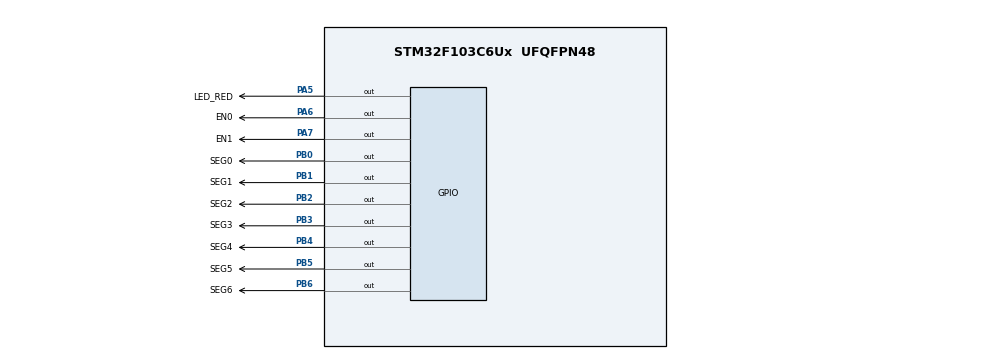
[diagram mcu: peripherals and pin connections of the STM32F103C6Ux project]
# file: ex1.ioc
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Mcu.Family=STM32F1
Mcu.Name=STM32F103C6Ux
Mcu.Package=UFQFPN48
NVIC.PriorityGroup=NVIC_PRIORITYGROUP_4
NVIC.TIM2_IRQn=true\:0\:0\:false\:false\:true\:true\:true
PA5.GPIO_Label=LED_RED
PA5.Signal=GPIO_Output
PA6.GPIO_Label=EN0
PA6.Signal=GPIO_Output
PA7.GPIO_Label=EN1
PA7.Signal=GPIO_Output
PB0.GPIO_Label=SEG0
PB0.Signal=GPIO_Output
PB1.GPIO_Label=SEG1
PB1.Signal=GPIO_Output
PB2.GPIO_Label=SEG2
PB2.Signal=GPIO_Output
PB3.GPIO_Label=SEG3
PB3.Signal=GPIO_Output
PB4.GPIO_Label=SEG4
PB4.Signal=GPIO_Output
PB5.GPIO_Label=SEG5
PB5.Signal=GPIO_Output
PB6.GPIO_Label=SEG6
PB6.Signal=GPIO_Output
ProjectManager.HeapSize=0x200
ProjectManager.StackSize=0x400
ProjectManager.TargetToolchain=STM32CubeIDE
RCC.APB1Freq_Value=8000000
RCC.APB2Freq_Value=8000000
TIM2.Period=9
TIM2.Prescaler=7999
VP_SYS_VS_ND.Mode=No_Debug
VP_TIM2_VS_ClockSourceINT.Mode=Internal
board=custom

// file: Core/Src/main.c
/* USER CODE BEGIN Header */
/**
  ******************************************************************************
  * @file           : main.c
  * @brief          : Main program body
  ******************************************************************************
  * @attention
  *
  * <h2><center>&copy; Copyright (c) 2023 STMicroelectronics.
  * All rights reserved.</center></h2>
  *
  * This software component is licensed by ST under BSD 3-Clause license,
  * the "License"; You may not use this file except in compliance with the
  * License. You may obtain a copy of the License at:
  *                        opensource.org/licenses/BSD-3-Clause
  *
  ******************************************************************************
  */
/* USER CODE END Header */
#include "main.h"

TIM_HandleTypeDef htim2;

void SystemClock_Config(void);
static void MX_GPIO_Init(void);
static void MX_TIM2_Init(void);

int main(void)
{

  /* MCU Configuration--------------------------------------------------------*/

  /* Reset of all peripherals, Initializes the Flash interface and the Systick. */
  HAL_Init();

  /* Configure the system clock */
  SystemClock_Config();

  /* Initialize all configured peripherals */
  MX_GPIO_Init();
  MX_TIM2_Init();
  /* USER CODE BEGIN 2 */
  HAL_TIM_Base_Start_IT(&htim2);
  /* USER CODE END 2 */

  /* Infinite loop */
  while (1)
  {

  }
}

void display7SEG (int num, GPIO_TypeDef* LEDa_GPIO_Port, uint16_t LEDa_Pin,
		  GPIO_TypeDef* LEDb_GPIO_Port, uint16_t LEDb_Pin,
		  GPIO_TypeDef* LEDc_GPIO_Port, uint16_t LEDc_Pin,
		  GPIO_TypeDef* LEDd_GPIO_Port, uint16_t LEDd_Pin,
		  GPIO_TypeDef* LEDe_GPIO_Port, uint16_t LEDe_Pin,
		  GPIO_TypeDef* LEDf_GPIO_Port, uint16_t LEDf_Pin,
		  GPIO_TypeDef* LEDg_GPIO_Port, uint16_t LEDg_Pin)
  {
	  switch(num)
	  {
	  case 0:
		  HAL_GPIO_WritePin(LEDa_GPIO_Port, LEDa_Pin, GPIO_PIN_RESET);
		  HAL_GPIO_WritePin(LEDb_GPIO_Port, LEDb_Pin, GPIO_PIN_RESET);
		  HAL_GPIO_WritePin(LEDc_GPIO_Port, LEDc_Pin, GPIO_PIN_RESET);
		  HAL_GPIO_WritePin(LEDd_GPIO_Port, LEDd_Pin, GPIO_PIN_RESET);
		  HAL_GPIO_WritePin(LEDe_GPIO_Port, LEDe_Pin, GPIO_PIN_RESET);
		  HAL_GPIO_WritePin(LEDf_GPIO_Port, LEDf_Pin, GPIO_PIN_RESET);
		  HAL_GPIO_WritePin(LEDg_GPIO_Port, LEDg_Pin, GPIO_PIN_SET);
		  break;
	  case 1:
		  HAL_GPIO_WritePin(LEDa_GPIO_Port, LEDa_Pin, GPIO_PIN_SET);
		  HAL_GPIO_WritePin(LEDb_GPIO_Port, LEDb_Pin, GPIO_PIN_RESET);
		  HAL_GPIO_WritePin(LEDc_GPIO_Port, LEDc_Pin, GPIO_PIN_RESET);
		  HAL_GPIO_WritePin(LEDd_GPIO_Port, LEDd_Pin, GPIO_PIN_SET);
		  HAL_GPIO_WritePin(LEDe_GPIO_Port, LEDe_Pin, GPIO_PIN_SET);
		  HAL_GPIO_WritePin(LEDf_GPIO_Port, LEDf_Pin, GPIO_PIN_SET);
		  HAL_GPIO_WritePin(LEDg_GPIO_Port, LEDg_Pin, GPIO_PIN_SET);
		  break;
	  case 2:
		  HAL_GPIO_WritePin(LEDa_GPIO_Port, LEDa_Pin, GPIO_PIN_RESET);
		  HAL_GPIO_WritePin(LEDb_GPIO_Port, LEDb_Pin, GPIO_PIN_RESET);
		  HAL_GPIO_WritePin(LEDc_GPIO_Port, LEDc_Pin, GPIO_PIN_SET);
		  HAL_GPIO_WritePin(LEDd_GPIO_Port, LEDd_Pin, GPIO_PIN_RESET);
		  HAL_GPIO_WritePin(LEDe_GPIO_Port, LEDe_Pin, GPIO_PIN_RESET);
		  HAL_GPIO_WritePin(LEDf_GPIO_Port, LEDf_Pin, GPIO_PIN_SET);
		  HAL_GPIO_WritePin(LEDg_GPIO_Port, LEDg_Pin, GPIO_PIN_RESET);
		  break;
	  case 3:
		  HAL_GPIO_WritePin(LEDa_GPIO_Port, LEDa_Pin, GPIO_PIN_RESET);
		  HAL_GPIO_WritePin(LEDb_GPIO_Port, LEDb_Pin, GPIO_PIN_RESET);
		  HAL_GPIO_WritePin(LEDc_GPIO_Port, LEDc_Pin, GPIO_PIN_RESET);
		  HAL_GPIO_WritePin(LEDd_GPIO_Port, LEDd_Pin, GPIO_PIN_RESET);
		  HAL_GPIO_WritePin(LEDe_GPIO_Port, LEDe_Pin, GPIO_PIN_SET);
		  HAL_GPIO_WritePin(LEDf_GPIO_Port, LEDf_Pin, GPIO_PIN_SET);
		  HAL_GPIO_WritePin(LEDg_GPIO_Port, LEDg_Pin, GPIO_PIN_RESET);
		  break;
	  case 4:
		  HAL_GPIO_WritePin(LEDa_GPIO_Port, LEDa_Pin, GPIO_PIN_SET);
		  HAL_GPIO_WritePin(LEDb_GPIO_Port, LEDb_Pin, GPIO_PIN_RESET);
		  HAL_GPIO_WritePin(LEDc_GPIO_Port, LEDc_Pin, GPIO_PIN_RESET);
		  HAL_GPIO_WritePin(LEDd_GPIO_Port, LEDd_Pin, GPIO_PIN_SET);
		  HAL_GPIO_WritePin(LEDe_GPIO_Port, LEDe_Pin, GPIO_PIN_SET);
		  HAL_GPIO_WritePin(LEDf_GPIO_Port, LEDf_Pin, GPIO_PIN_RESET);
		  HAL_GPIO_WritePin(LEDg_GPIO_Port, LEDg_Pin, GPIO_PIN_RESET);
		  break;
	  case 5:
		  HAL_GPIO_WritePin(LEDa_GPIO_Port, LEDa_Pin, GPIO_PIN_RESET);
		  HAL_GPIO_WritePin(LEDb_GPIO_Port, LEDb_Pin, GPIO_PIN_SET);
		  HAL_GPIO_WritePin(LEDc_GPIO_Port, LEDc_Pin, GPIO_PIN_RESET);
		  HAL_GPIO_WritePin(LEDd_GPIO_Port, LEDd_Pin, GPIO_PIN_RESET);
		  HAL_GPIO_WritePin(LEDe_GPIO_Port, LEDe_Pin, GPIO_PIN_SET);
		  HAL_GPIO_WritePin(LEDf_GPIO_Port, LEDf_Pin, GPIO_PIN_RESET);
		  HAL_GPIO_WritePin(LEDg_GPIO_Port, LEDg_Pin, GPIO_PIN_RESET);
		  break;
	  case 6:
		  HAL_GPIO_WritePin(LEDa_GPIO_Port, LEDa_Pin, GPIO_PIN_RESET);
		  HAL_GPIO_WritePin(LEDb_GPIO_Port, LEDb_Pin, GPIO_PIN_SET);
		  HAL_GPIO_WritePin(LEDc_GPIO_Port, LEDc_Pin, GPIO_PIN_RESET);
		  HAL_GPIO_WritePin(LEDd_GPIO_Port, LEDd_Pin, GPIO_PIN_RESET);
		  HAL_GPIO_WritePin(LEDe_GPIO_Port, LEDe_Pin, GPIO_PIN_RESET);
		  HAL_GPIO_WritePin(LEDf_GPIO_Port, LEDf_Pin, GPIO_PIN_RESET);
		  HAL_GPIO_WritePin(LEDg_GPIO_Port, LEDg_Pin, GPIO_PIN_RESET);
		  break;
	  case 7:
		  HAL_GPIO_WritePin(LEDa_GPIO_Port, LEDa_Pin, GPIO_PIN_RESET);
		  HAL_GPIO_WritePin(LEDb_GPIO_Port, LEDb_Pin, GPIO_PIN_RESET);
		  HAL_GPIO_WritePin(LEDc_GPIO_Port, LEDc_Pin, GPIO_PIN_RESET);
		  HAL_GPIO_WritePin(LEDd_GPIO_Port, LEDd_Pin, GPIO_PIN_SET);
		  HAL_GPIO_WritePin(LEDe_GPIO_Port, LEDe_Pin, GPIO_PIN_SET);
		  HAL_GPIO_WritePin(LEDf_GPIO_Port, LEDf_Pin, GPIO_PIN_SET);
		  HAL_GPIO_WritePin(LEDg_GPIO_Port, LEDg_Pin, GPIO_PIN_SET);
		  break;
	  case 8:
		  HAL_GPIO_WritePin(LEDa_GPIO_Port, LEDa_Pin, GPIO_PIN_RESET);
		  HAL_GPIO_WritePin(LEDb_GPIO_Port, LEDb_Pin, GPIO_PIN_RESET);
		  HAL_GPIO_WritePin(LEDc_GPIO_Port, LEDc_Pin, GPIO_PIN_RESET);
		  HAL_GPIO_WritePin(LEDd_GPIO_Port, LEDd_Pin, GPIO_PIN_RESET);
		  HAL_GPIO_WritePin(LEDe_GPIO_Port, LEDe_Pin, GPIO_PIN_RESET);
		  HAL_GPIO_WritePin(LEDf_GPIO_Port, LEDf_Pin, GPIO_PIN_RESET);
		  HAL_GPIO_WritePin(LEDg_GPIO_Port, LEDg_Pin, GPIO_PIN_RESET);
		  break;
	  case 9:
		  HAL_GPIO_WritePin(LEDa_GPIO_Port, LEDa_Pin, GPIO_PIN_RESET);
		  HAL_GPIO_WritePin(LEDb_GPIO_Port, LEDb_Pin, GPIO_PIN_RESET);
		  HAL_GPIO_WritePin(LEDc_GPIO_Port, LEDc_Pin, GPIO_PIN_RESET);
		  HAL_GPIO_WritePin(LEDd_GPIO_Port, LEDd_Pin, GPIO_PIN_RESET);
		  HAL_GPIO_WritePin(LEDe_GPIO_Port, LEDe_Pin, GPIO_PIN_SET);
		  HAL_GPIO_WritePin(LEDf_GPIO_Port, LEDf_Pin, GPIO_PIN_RESET);
		  HAL_GPIO_WritePin(LEDg_GPIO_Port, LEDg_Pin, GPIO_PIN_RESET);
		  break;
	  }
  }

void SystemClock_Config(void)
{
  RCC_OscInitTypeDef RCC_OscInitStruct = {0};
  RCC_ClkInitTypeDef RCC_ClkInitStruct = {0};

  /** Initializes the RCC Oscillators according to the specified parameters
  * in the RCC_OscInitTypeDef structure.
  */
  RCC_OscInitStruct.OscillatorType = RCC_OSCILLATORTYPE_HSI;
  RCC_OscInitStruct.HSIState = RCC_HSI_ON;
  RCC_OscInitStruct.HSICalibrationValue = RCC_HSICALIBRATION_DEFAULT;
  RCC_OscInitStruct.PLL.PLLState = RCC_PLL_NONE;
  if (HAL_RCC_OscConfig(&RCC_OscInitStruct) != HAL_OK)
  {
    Error_Handler();
  }
  /** Initializes the CPU, AHB and APB buses clocks
  */
  RCC_ClkInitStruct.ClockType = RCC_CLOCKTYPE_HCLK|RCC_CLOCKTYPE_SYSCLK
                              |RCC_CLOCKTYPE_PCLK1|RCC_CLOCKTYPE_PCLK2;
  RCC_ClkInitStruct.SYSCLKSource = RCC_SYSCLKSOURCE_HSI;
  RCC_ClkInitStruct.AHBCLKDivider = RCC_SYSCLK_DIV1;
  RCC_ClkInitStruct.APB1CLKDivider = RCC_HCLK_DIV1;
  RCC_ClkInitStruct.APB2CLKDivider = RCC_HCLK_DIV1;

  if (HAL_RCC_ClockConfig(&RCC_ClkInitStruct, FLASH_LATENCY_0) != HAL_OK)
  {
    Error_Handler();
  }
}

static void MX_TIM2_Init(void)
{

  TIM_ClockConfigTypeDef sClockSourceConfig = {0};
  TIM_MasterConfigTypeDef sMasterConfig = {0};

  htim2.Instance = TIM2;
  htim2.Init.Prescaler = 7999;
  htim2.Init.CounterMode = TIM_COUNTERMODE_UP;
  htim2.Init.Period = 9;
  htim2.Init.ClockDivision = TIM_CLOCKDIVISION_DIV1;
  htim2.Init.AutoReloadPreload = TIM_AUTORELOAD_PRELOAD_DISABLE;
  if (HAL_TIM_Base_Init(&htim2) != HAL_OK)
  {
    Error_Handler();
  }
  sClockSourceConfig.ClockSource = TIM_CLOCKSOURCE_INTERNAL;
  if (HAL_TIM_ConfigClockSource(&htim2, &sClockSourceConfig) != HAL_OK)
  {
    Error_Handler();
  }
  sMasterConfig.MasterOutputTrigger = TIM_TRGO_RESET;
  sMasterConfig.MasterSlaveMode = TIM_MASTERSLAVEMODE_DISABLE;
  if (HAL_TIMEx_MasterConfigSynchronization(&htim2, &sMasterConfig) != HAL_OK)
  {
    Error_Handler();
  }

}

static void MX_GPIO_Init(void)
{
  GPIO_InitTypeDef GPIO_InitStruct = {0};

  /* GPIO Ports Clock Enable */
  __HAL_RCC_GPIOA_CLK_ENABLE();
  __HAL_RCC_GPIOB_CLK_ENABLE();

  /*Configure GPIO pin Output Level */
  HAL_GPIO_WritePin(GPIOA, LED_RED_Pin|EN0_Pin|EN1_Pin, GPIO_PIN_RESET);

  /*Configure GPIO pin Output Level */
  HAL_GPIO_WritePin(GPIOB, SEG0_Pin|SEG1_Pin|SEG2_Pin|SEG3_Pin
                          |SEG4_Pin|SEG5_Pin|SEG6_Pin, GPIO_PIN_RESET);

  /*Configure GPIO pins : LED_RED_Pin EN0_Pin EN1_Pin */
  GPIO_InitStruct.Pin = LED_RED_Pin|EN0_Pin|EN1_Pin;
  GPIO_InitStruct.Mode = GPIO_MODE_OUTPUT_PP;
  GPIO_InitStruct.Pull = GPIO_NOPULL;
  GPIO_InitStruct.Speed = GPIO_SPEED_FREQ_LOW;
  HAL_GPIO_Init(GPIOA, &GPIO_InitStruct);

  /*Configure GPIO pins : SEG0_Pin SEG1_Pin SEG2_Pin SEG3_Pin
                           SEG4_Pin SEG5_Pin SEG6_Pin */
  GPIO_InitStruct.Pin = SEG0_Pin|SEG1_Pin|SEG2_Pin|SEG3_Pin
                          |SEG4_Pin|SEG5_Pin|SEG6_Pin;
  GPIO_InitStruct.Mode = GPIO_MODE_OUTPUT_PP;
  GPIO_InitStruct.Pull = GPIO_NOPULL;
  GPIO_InitStruct.Speed = GPIO_SPEED_FREQ_LOW;
  HAL_GPIO_Init(GPIOB, &GPIO_InitStruct);

}

/* USER CODE BEGIN 4 */
int EN = 0;
int counter = 50;
void HAL_TIM_PeriodElapsedCallback(TIM_HandleTypeDef *htim)
{
	counter--;
	int display = 1;
	if(counter <= 0)
	{
		counter = 50;
		HAL_GPIO_TogglePin(LED_RED_GPIO_Port, LED_RED_Pin);
		switch (EN) {
			case 0:
				HAL_GPIO_WritePin(EN0_GPIO_Port, EN0_Pin, RESET);
				HAL_GPIO_WritePin(EN1_GPIO_Port, EN1_Pin, SET);
				EN = 1;
				display = 1;
				break;
			case 1:
				HAL_GPIO_WritePin(EN1_GPIO_Port, EN1_Pin, RESET);
				HAL_GPIO_WritePin(EN0_GPIO_Port, EN0_Pin, SET);
				EN = 0;
				display = 2;
				break;
			default:
				break;
		}

		display7SEG(display,
				SEG0_GPIO_Port, SEG0_Pin,
				SEG1_GPIO_Port, SEG1_Pin,
				SEG2_GPIO_Port, SEG2_Pin,
				SEG3_GPIO_Port, SEG3_Pin,
				SEG4_GPIO_Port, SEG4_Pin,
				SEG5_GPIO_Port, SEG5_Pin,
				SEG6_GPIO_Port, SEG6_Pin);
	}
}

/* USER CODE END 4 */

void Error_Handler(void)
{
  __disable_irq();
  while (1)
  {
  }
}

/************************ (C) COPYRIGHT STMicroelectronics *****END OF FILE****/
